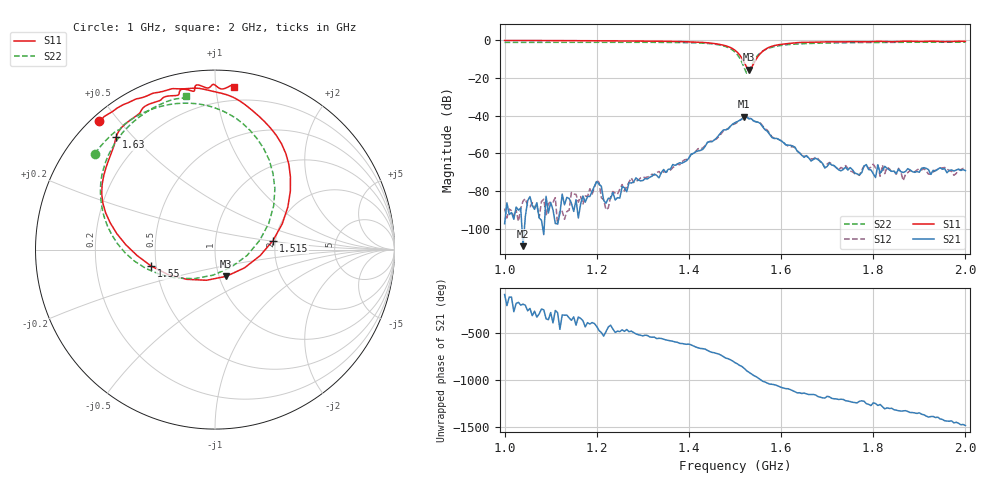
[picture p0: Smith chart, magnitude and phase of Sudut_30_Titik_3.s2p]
# Hz S RI R 50
! CMT, C1220, 16058040, 17.2.0/1
! Date: 14/08/2018 12:36:46
! Data: Format (Calibration Info)
! Freq  S11: Re/Im (F2)  S21: Re/Im (F2)  S12: Re/Im (F2)  S22: Re/Im (F2)
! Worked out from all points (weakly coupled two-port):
!   201 points, 1 GHz to 2 GHz, reference 50 ohm
!   highest |S21| = -40.55 dB at 1.52 GHz (marker M1); lowest = -109.1 dB at 1.04 GHz (marker M2)
!   lowest |S11| = -15.8 dB at 1.53 GHz (marker M3), VSWR 1.39, Z = 54 - j16.5 ohm
!   |S11| at or under -10 dB: 1.516 GHz to 1.547 GHz (30.85 MHz wide, 2.01 % of centre)
!   |S22| runs from -17.5 to -1.2 dB; largest |S21 - S12| = 0.00041
!   S11 on the Smith chart (normalised r, x): 1 GHz: 0.02, +0.44; 1.515 GHz: 1.94, +0.22; 1.55 GHz: 0.47, -0.10; 1.63 GHz: 0.11, +0.45; 2 GHz: 0.10, +1.12
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1e9  -0.6458 0.7148  -9.3e-07 -1.38e-05  2.03e-06 3.47e-05  -0.6704 0.5353
1.04e9  -0.6164 0.742  -3.38e-06 9.96e-07  2e-05 5.13e-05  -0.6486 0.562
1.17e9  -0.4738 0.8232  7.34e-05 -1.43e-05  4.21e-05 -1.75e-05  -0.5601 0.6534
1.2e9  -0.432 0.8409  5e-05 -0.000173  0.000106 -0.000165  -0.5314 0.6675
1.21e9  -0.4226 0.8426  -9.97e-05 -8.98e-05  -6.26e-05 -2.41e-05  -0.528 0.6712
1.26e9  -0.3417 0.8721  -7.15e-05 -0.000102  -4.11e-05 -9.37e-05  -0.4822 0.7145
1.335e9  -0.212 0.8954  -0.000214 7.19e-05  -0.000318 9.38e-05  -0.3767 0.7722
1.45e9  0.1863 0.7929  0.00199 0.000422  0.00208 0.000339  0.0154 0.7837
1.5e9  0.4198 0.3258  -0.00079 -0.00644  -0.00074 -0.00603  0.3337 0.339
1.515e9  0.3229 0.0501  -0.006 -0.00538  -0.00592 -0.0056  0.2494 0.052
1.52e9  0.2519 -0.0332  -0.0087 -0.00352  -0.00879 -0.00368  0.179 -0.0325
1.53e9  0.0625 -0.149  -0.00781 0.0026  -0.00789 0.0026  -0.0108 -0.1425
1.55e9  -0.3561 -0.0914  -0.00123 0.00657  -0.00146 0.00649  -0.3848 -0.1054
1.63e9  -0.551 0.6257  0.00102 -0.00105  0.00106 -0.000952  -0.6177 0.462
1.67e9  -0.4328 0.7494  0.000174 -0.000666  0.000155 -0.000696  -0.5658 0.5796
1.77e9  -0.2324 0.8576  -0.000229 -0.000143  -0.000205 -0.000164  -0.4381 0.7262
1.785e9  -0.2033 0.8626  -0.000503 -6.19e-05  -0.000468 -0.000109  -0.419 0.7404
1.805e9  -0.1937 0.8885  -0.000227 -3.44e-05  -0.000388 0.000145  -0.395 0.7579
1.81e9  -0.1873 0.8925  -0.000482 0.000104  -0.000479 0.000124  -0.3892 0.7619
1.835e9  -0.1264 0.8828  -0.000265 0.000254  -0.000266 0.000288  -0.3599 0.7802
1.865e9  -0.1086 0.9136  -0.000111 0.000292  -0.000126 0.000143  -0.3238 0.7996
2e9  0.1048 0.9058  0.00025 -0.000245  0.000265 -0.000297  -0.1596 0.8539
